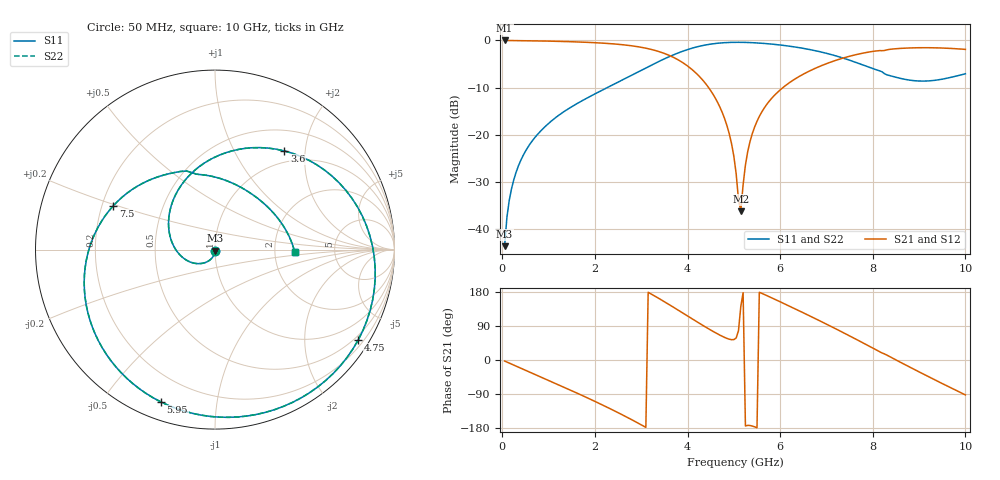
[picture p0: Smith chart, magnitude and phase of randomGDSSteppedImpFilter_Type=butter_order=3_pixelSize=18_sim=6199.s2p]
! freq	dB(S11)	phase(S11)	dB(S12)	phase(S12)
!  dB(S21)	phase(S21)	dB(S22)	phase(S22)
!S-par simulation data
#  GHz  S  DB  R 50
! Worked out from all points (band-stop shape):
!   200 points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, 50 MHz to 10 GHz, reference 50 ohm
!   highest |S21| = 0.00 dB at 50 MHz (marker M1); lowest = -36.1 dB at 5.15 GHz (marker M2)
!   |S21| within 3 dB of the highest: start of sweep to 3.564 GHz; 7.64 GHz to end of sweep
!   lowest |S11| = -43.6 dB at 50 MHz (marker M3), VSWR 1.01, Z = 50 - j0.663 ohm
!   |S11| at or under -10 dB: start of sweep to 2.263 GHz
!   |S22| runs from -43.6 to -0.4 dB; largest |S21 - S12| = 0
!   S11 on the Smith chart (normalised r, x): 50 MHz: 1.00, -0.01; 3.6 GHz: 0.81, +1.62; 4.75 GHz: 0.38, -3.43; 5.95 GHz: 0.08, -0.70; 7.5 GHz: 0.25, +0.19; 10 GHz: 2.59, -0.07
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0.05  -43.56 -90.8  -0.00 -2.7  -0.00 -2.7  -43.56 -90.8
0.2  -31.37 -100.3  -0.02 -10.8  -0.02 -10.8  -31.37 -100.3
0.45  -24.36 -114.4  -0.05 -24.1  -0.05 -24.1  -24.36 -114.5
1.15  -16.35 -152.5  -0.18 -61.8  -0.18 -61.8  -16.35 -152.5
1.75  -12.62 174.0  -0.36 -95.0  -0.36 -95.0  -12.62 173.9
2.7  -7.82 117.3  -1.02 -151.5  -1.02 -151.5  -7.82 117.2
3.4  -4.36 69.7  -2.41 161.1  -2.41 161.1  -4.36 69.6
3.6  -3.45 55.0  -3.15 146.4  -3.15 146.4  -3.45 54.9
4.25  -1.25 5.1  -7.56 97.3  -7.56 97.3  -1.25 5.1
4.75  -0.51 -32.2  -15.26 62.5  -15.26 62.5  -0.51 -32.2
4.95  -0.41 -46.3  -21.83 53.6  -21.83 53.6  -0.41 -46.3
5.05  -0.39 -53.1  -28.22 58.1  -28.22 58.1  -0.39 -53.1
5.15  -0.40 -59.8  -36.14 140.9  -36.14 140.9  -0.40 -59.8
5.25  -0.42 -66.3  -26.39 -174.0  -26.39 -174.0  -0.42 -66.4
5.4  -0.47 -75.9  -19.69 -174.4  -19.69 -174.4  -0.47 -76.0
5.95  -0.91 -109.5  -10.92 156.5  -10.92 156.5  -0.91 -109.5
6.7  -2.05 -153.9  -6.16 112.7  -6.16 112.7  -2.05 -153.9
7.5  -4.19 156.8  -3.34 63.6  -3.34 63.6  -4.19 156.8
8.35  -7.41 101.2  -1.91 9.9  -1.91 9.9  -7.40 101.1
9.05  -8.61 56.3  -1.54 -34.5  -1.54 -34.5  -8.60 56.2
9.55  -8.11 25.2  -1.62 -65.2  -1.62 -65.2  -8.11 25.1
10  -7.06 -1.5  -1.89 -92.1  -1.89 -92.1  -7.06 -1.5
